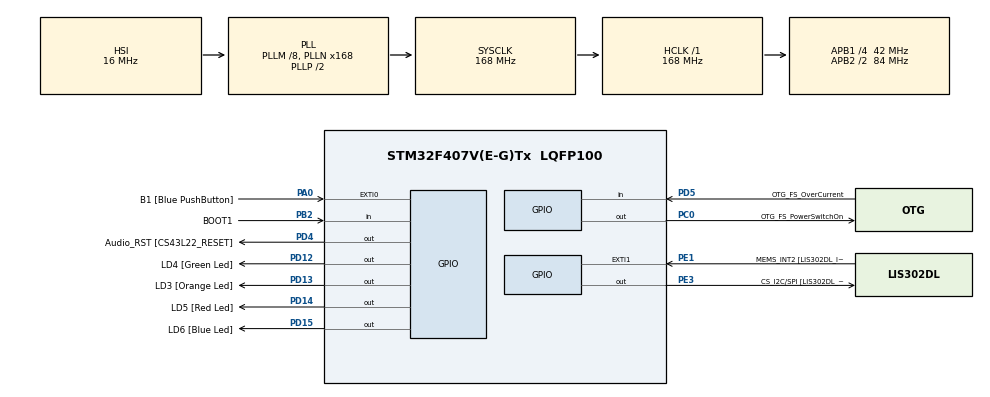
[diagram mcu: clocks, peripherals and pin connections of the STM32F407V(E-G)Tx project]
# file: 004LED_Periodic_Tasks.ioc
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Mcu.Family=STM32F4
PA11.GPIO_Speed=GPIO_SPEED_FREQ_LOW
PC3.GPIO_Mode=GPIO_MODE_AF_PP
PD12.GPIO_Label=LD4 [Green Led]
PH0-OSC_IN.Signal=RCC_OSC_IN
VP_SYS_VS_tim6.Mode=TIM6
RCC.CortexFreq_Value=168000000
PC10.GPIO_PuPd=GPIO_NOPULL
PB10.GPIO_Speed=GPIO_SPEED_FREQ_LOW
PB6.GPIO_Mode=GPIO_MODE_AF_OD
PB10.GPIO_PuPd=GPIO_NOPULL
NVIC.TIM6_DAC_IRQn=true\:0\:0\:false\:false\:true\:false\:true
PA10.GPIO_PuPd=GPIO_NOPULL
PD15.GPIO_Speed=GPIO_SPEED_FREQ_LOW
PC10.Signal=I2S3_CK
PC12.Signal=I2S3_SD
PA14.GPIO_Label=SWCLK
PA7.GPIO_Mode=GPIO_MODE_AF_PP
PC0.GPIO_Label=OTG_FS_PowerSwitchOn
PA6.GPIO_Label=SPI1_MISO [LIS302DL_SDO]
PB6.GPIO_Label=Audio_SCL [CS43L22_SCL]
PC10.GPIO_Speed=GPIO_SPEED_FREQ_LOW
PA11.GPIO_PuPd=GPIO_NOPULL
PC15-OSC32_OUT.GPIO_Label=PC15-OSC32_OUT
PC3.GPIO_Speed=GPIO_SPEED_FREQ_LOW
RCC.SYSCLKSource=RCC_SYSCLKSOURCE_PLLCLK
ProjectManager.StackSize=0x400
PA6.GPIO_Mode=GPIO_MODE_AF_PP
PD13.Signal=GPIO_Output
PD14.GPIO_Speed=GPIO_SPEED_FREQ_LOW
PA12.Signal=USB_OTG_FS_DP
RCC.HCLKFreq_Value=168000000
PD4.Signal=GPIO_Output
RCC.APB2TimFreq_Value=168000000
PB6.Signal=I2C1_SCL
PC7.Signal=I2S3_MCK
PC3.Signal=I2S2_SD
PE1.Signal=GPXTI1
RCC.AHBFreq_Value=168000000
PH0-OSC_IN.GPIO_Label=PH0-OSC_IN
PA9.GPIO_Mode=GPIO_MODE_INPUT
RCC.HSE_VALUE=8000000
PA4.GPIO_PuPd=GPIO_NOPULL
PB2.Signal=GPIO_Input
PA4.GPIO_Speed=GPIO_SPEED_FREQ_LOW
PA6.GPIO_PuPd=GPIO_NOPULL
PA5.GPIO_PuPd=GPIO_NOPULL
PA10.GPIO_Label=OTG_FS_ID
PC7.GPIO_Mode=GPIO_MODE_AF_PP
PD5.GPIO_Mode=GPIO_MODE_INPUT
PD14.GPIO_PuPd=GPIO_NOPULL
PB2.GPIO_PuPd=GPIO_NOPULL
PD13.GPIO_Label=LD3 [Orange Led]
Mcu.Package=LQFP100
PB9.Signal=I2C1_SDA
PA6.Signal=SPI1_MISO
NVIC.TimeBase=TIM6_DAC_IRQn
PD12.Signal=GPIO_Output
PD5.GPIO_Label=OTG_FS_OverCurrent
PD15.GPIO_PuPd=GPIO_NOPULL
NVIC.TimeBaseIP=TIM6
PA10.Signal=USB_OTG_FS_ID
PB9.GPIO_PuPd=GPIO_NOPULL
PA10.GPIO_Speed=GPIO_SPEED_FREQ_LOW
RCC.APB2CLKDivider=RCC_HCLK_DIV2
PB9.GPIO_Speed=GPIO_SPEED_FREQ_LOW
RCC.APB1TimFreq_Value=84000000
PC14-OSC32_IN.GPIO_Label=PC14-OSC32_IN
PC12.GPIO_PuPd=GPIO_NOPULL
PA6.GPIO_Speed=GPIO_SPEED_FREQ_LOW
PC0.GPIO_PuPd=GPIO_NOPULL
PA12.GPIO_PuPd=GPIO_NOPULL
PA4.GPIO_Label=I2S3_WS [CS43L22_LRCK]
PD15.Signal=GPIO_Output
PC0.PinState=GPIO_PIN_SET
PA12.GPIO_Speed=GPIO_SPEED_FREQ_LOW
PB3.GPIO_Label=SWO
PD12.GPIO_Speed=GPIO_SPEED_FREQ_LOW
PD15.GPIO_Label=LD6 [Blue Led]
PB9.GPIO_Label=Audio_SDA [CS43L22_SDA]
PC10.GPIO_Label=I2S3_SCK [CS43L22_SCLK]
PA9.GPIO_Label=VBUS_FS
PB6.GPIO_PuPd=GPIO_NOPULL
PA11.GPIO_Label=OTG_FS_DM
PE1.GPIO_PuPd=GPIO_NOPULL
PD5.Signal=GPIO_Input
PC0.Signal=GPIO_Output
PE1.GPIO_ModeDefaultEXTI=GPIO_MODE_EVT_RISING
RCC.APB1CLKDivider=RCC_HCLK_DIV4
PC14-OSC32_IN.Signal=RCC_OSC32_IN
PA9.GPIO_PuPd=GPIO_NOPULL
PA12.GPIO_Label=OTG_FS_DP
PA0-WKUP.GPIO_Label=B1 [Blue PushButton]
PA0-WKUP.Signal=GPXTI0
PA10.GPIO_Mode=GPIO_MODE_AF_PP
PA13.Signal=SYS_JTMS-SWDIO
PC10.GPIO_Mode=GPIO_MODE_AF_PP
PD4.GPIO_PuPd=GPIO_NOPULL
PC0.GPIO_Speed=GPIO_SPEED_FREQ_LOW
PB10.GPIO_Mode=GPIO_MODE_AF_PP
ProjectManager.TargetToolchain=STM32CubeIDE
PB10.GPIO_Label=CLK_IN [MP45DT02_CLK]
PA9.Signal=USB_OTG_FS_VBUS
PC7.GPIO_PuPd=GPIO_NOPULL
RCC.LSE_VALUE=32768
PC15-OSC32_OUT.Signal=RCC_OSC32_OUT
PA7.GPIO_PuPd=GPIO_NOPULL
PB10.Signal=I2S2_CK
PA5.Signal=SPI1_SCK
board=STM32F407G-DISC1
PD13.GPIO_Speed=GPIO_SPEED_FREQ_LOW
PC7.GPIO_Speed=GPIO_SPEED_FREQ_LOW
RCC.VCOOutputFreq_Value=336000000
PE1.GPIO_Label=MEMS_INT2 [LIS302DL_INT2]
PA7.GPIO_Speed=GPIO_SPEED_FREQ_LOW
PB9.GPIO_Mode=GPIO_MODE_AF_OD
PA12.GPIO_Mode=GPIO_MODE_AF_PP
PA4.GPIO_Mode=GPIO_MODE_AF_PP
RCC.APB2Freq_Value=84000000
PB2.GPIO_Mode=GPIO_MODE_INPUT
PD4.GPIO_Label=Audio_RST [CS43L22_RESET]
PD4.GPIO_Speed=GPIO_SPEED_FREQ_LOW
PE3.GPIO_PuPd=GPIO_NOPULL
PH1-OSC_OUT.Signal=RCC_OSC_OUT
PD13.GPIO_PuPd=GPIO_NOPULL
PD5.GPIO_PuPd=GPIO_NOPULL
PD14.GPIO_Label=LD5 [Red Led]
PH1-OSC_OUT.GPIO_Label=PH1-OSC_OUT
Mcu.Name=STM32F407V(E-G)Tx
PA13.GPIO_Label=SWDIO
PC7.GPIO_Label=I2S3_MCK [CS43L22_MCLK]
PD14.Signal=GPIO_Output
RCC.48MHZClocksFreq_Value=48000000
PB3.Signal=SYS_JTDO-SWO
PA4.Signal=I2S3_WS
RCC.SYSCLKFreq_VALUE=168000000
PC12.GPIO_Mode=GPIO_MODE_AF_PP
PA7.GPIO_Label=SPI1_MOSI [LIS302DL_SDA/SDI/SDO]
PA5.GPIO_Label=SPI1_SCK [LIS302DL_SCL/SPC]
PE3.GPIO_Speed=GPIO_SPEED_FREQ_LOW
PC12.GPIO_Label=I2S3_SD [CS43L22_SDIN]
PA11.Signal=USB_OTG_FS_DM
PA14.Signal=SYS_JTCK-SWCLK
PB2.GPIO_Label=BOOT1
ProjectManager.HeapSize=0x200
RCC.HSI_VALUE=16000000
PA5.GPIO_Speed=GPIO_SPEED_FREQ_LOW
RCC.PLLQ=7
NVIC.PriorityGroup=NVIC_PRIORITYGROUP_4
RCC.PLLM=8
RCC.PLLN=168
PE3.Signal=GPIO_Output
PE3.GPIO_Label=CS_I2C/SPI [LIS302DL_CS_I2C/SPI]
PC3.GPIO_Label=PDM_OUT [MP45DT02_DOUT]
PA11.GPIO_Mode=GPIO_MODE_AF_PP
PB6.GPIO_Speed=GPIO_SPEED_FREQ_LOW
RCC.APB1Freq_Value=42000000
PA5.GPIO_Mode=GPIO_MODE_AF_PP
PC12.GPIO_Speed=GPIO_SPEED_FREQ_LOW
PC3.GPIO_PuPd=GPIO_NOPULL
PD12.GPIO_PuPd=GPIO_NOPULL
PA7.Signal=SPI1_MOSI

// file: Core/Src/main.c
/* USER CODE BEGIN Header */
/**
  ******************************************************************************
  * @file           : main.c
  * @brief          : Main program body
  ******************************************************************************
  * @attention
  *
  * <h2><center>&copy; Copyright (c) 2021 STMicroelectronics.
  * All rights reserved.</center></h2>
  *
  * This software component is licensed by ST under BSD 3-Clause license,
  * the "License"; You may not use this file except in compliance with the
  * License. You may obtain a copy of the License at:
  *                        opensource.org/licenses/BSD-3-Clause
  *
  ******************************************************************************
  */
/* USER CODE END Header */
#include "main.h"

/* USER CODE BEGIN Includes */
#include "FreeRTOS.h"
#include "task.h"
#include <stdio.h>
/* USER CODE END Includes */

/* USER CODE BEGIN PM */

#define DWT_CTRL  (*(volatile uint32_t *)0xE0001000)

/* USER CODE END PM */

void SystemClock_Config(void);
static void MX_GPIO_Init(void);
/* USER CODE BEGIN PFP */
extern void SEGGER_UART_init(U32 baud);
// tasks
static void led_green_handler(void* parameters);
static void led_red_handler(void* parameters);
static void led_orange_handler(void* parameters);
/* USER CODE END PFP */

int main(void)
{
  /* USER CODE BEGIN 1 */

  TaskHandle_t task1_handle, task2_handle, task3_handle;
  BaseType_t status;   // To store the status return from the xTaskCreate

  /* USER CODE END 1 */

  /* MCU Configuration--------------------------------------------------------*/

  /* Reset of all peripherals, Initializes the Flash interface and the Systick. */
  HAL_Init();

  /* Configure the system clock */
  SystemClock_Config();

  /* Initialize all configured peripherals */
  MX_GPIO_Init();
  /* USER CODE BEGIN 2 */

  // Enable the CYCCNT counter (for SEGGER)
  DWT_CTRL |= (1 << 0);

  // Config. uart based SEGGER communication
  SEGGER_UART_init(250000);

  // Starting the recording (for SEGGER)
  SEGGER_SYSVIEW_Conf();

  // Config. Task 1
  status = xTaskCreate(&led_green_handler, "LED_green_task", 200, NULL, 2, &task1_handle);
  configASSERT(status == pdPASS);  // Traps the code if the above function returns an unexpected status

  // Config. Task 2
  status = xTaskCreate(&led_red_handler, "LED_red_task", 200, NULL, 2, &task2_handle);
  configASSERT(status == pdPASS);  // Traps the code if the above function returns an unexpected status

  // Config. Task 3
  status = xTaskCreate(&led_orange_handler, "LED_orange_task", 200, NULL, 2, &task3_handle);
  configASSERT(status == pdPASS);  // Traps the code if the above function returns an unexpected status

  // Start the freeRTOS scheduler
  vTaskStartScheduler();

  // If the control comes here, then the launch of the scheduler has failed due to insufficient
  // memory in the heap

  /* USER CODE END 2 */

  /* Infinite loop */
  while (1)
  {

  }
}

void SystemClock_Config(void)
{
  RCC_OscInitTypeDef RCC_OscInitStruct = {0};
  RCC_ClkInitTypeDef RCC_ClkInitStruct = {0};

  /** Configure the main internal regulator output voltage
  */
  __HAL_RCC_PWR_CLK_ENABLE();
  __HAL_PWR_VOLTAGESCALING_CONFIG(PWR_REGULATOR_VOLTAGE_SCALE1);
  /** Initializes the RCC Oscillators according to the specified parameters
  * in the RCC_OscInitTypeDef structure.
  */
  RCC_OscInitStruct.OscillatorType = RCC_OSCILLATORTYPE_HSI;
  RCC_OscInitStruct.HSIState = RCC_HSI_ON;
  RCC_OscInitStruct.HSICalibrationValue = RCC_HSICALIBRATION_DEFAULT;
  RCC_OscInitStruct.PLL.PLLState = RCC_PLL_ON;
  RCC_OscInitStruct.PLL.PLLSource = RCC_PLLSOURCE_HSI;
  RCC_OscInitStruct.PLL.PLLM = 8;
  RCC_OscInitStruct.PLL.PLLN = 168;
  RCC_OscInitStruct.PLL.PLLP = RCC_PLLP_DIV2;
  RCC_OscInitStruct.PLL.PLLQ = 7;
  if (HAL_RCC_OscConfig(&RCC_OscInitStruct) != HAL_OK)
  {
    Error_Handler();
  }
  /** Initializes the CPU, AHB and APB buses clocks
  */
  RCC_ClkInitStruct.ClockType = RCC_CLOCKTYPE_HCLK|RCC_CLOCKTYPE_SYSCLK
                              |RCC_CLOCKTYPE_PCLK1|RCC_CLOCKTYPE_PCLK2;
  RCC_ClkInitStruct.SYSCLKSource = RCC_SYSCLKSOURCE_PLLCLK;
  RCC_ClkInitStruct.AHBCLKDivider = RCC_SYSCLK_DIV1;
  RCC_ClkInitStruct.APB1CLKDivider = RCC_HCLK_DIV4;
  RCC_ClkInitStruct.APB2CLKDivider = RCC_HCLK_DIV2;

  if (HAL_RCC_ClockConfig(&RCC_ClkInitStruct, FLASH_LATENCY_5) != HAL_OK)
  {
    Error_Handler();
  }
}

static void MX_GPIO_Init(void)
{
  GPIO_InitTypeDef GPIO_InitStruct = {0};

  /* GPIO Ports Clock Enable */
  __HAL_RCC_GPIOE_CLK_ENABLE();
  __HAL_RCC_GPIOC_CLK_ENABLE();
  __HAL_RCC_GPIOH_CLK_ENABLE();
  __HAL_RCC_GPIOA_CLK_ENABLE();
  __HAL_RCC_GPIOB_CLK_ENABLE();
  __HAL_RCC_GPIOD_CLK_ENABLE();

  /*Configure GPIO pin Output Level */
  HAL_GPIO_WritePin(CS_I2C_SPI_GPIO_Port, CS_I2C_SPI_Pin, GPIO_PIN_RESET);

  /*Configure GPIO pin Output Level */
  HAL_GPIO_WritePin(OTG_FS_PowerSwitchOn_GPIO_Port, OTG_FS_PowerSwitchOn_Pin, GPIO_PIN_SET);

  /*Configure GPIO pin Output Level */
  HAL_GPIO_WritePin(GPIOD, LD4_Pin|LD3_Pin|LD5_Pin|LD6_Pin
                          |Audio_RST_Pin, GPIO_PIN_RESET);

  /*Configure GPIO pin : CS_I2C_SPI_Pin */
  GPIO_InitStruct.Pin = CS_I2C_SPI_Pin;
  GPIO_InitStruct.Mode = GPIO_MODE_OUTPUT_PP;
  GPIO_InitStruct.Pull = GPIO_NOPULL;
  GPIO_InitStruct.Speed = GPIO_SPEED_FREQ_LOW;
  HAL_GPIO_Init(CS_I2C_SPI_GPIO_Port, &GPIO_InitStruct);

  /*Configure GPIO pin : OTG_FS_PowerSwitchOn_Pin */
  GPIO_InitStruct.Pin = OTG_FS_PowerSwitchOn_Pin;
  GPIO_InitStruct.Mode = GPIO_MODE_OUTPUT_PP;
  GPIO_InitStruct.Pull = GPIO_NOPULL;
  GPIO_InitStruct.Speed = GPIO_SPEED_FREQ_LOW;
  HAL_GPIO_Init(OTG_FS_PowerSwitchOn_GPIO_Port, &GPIO_InitStruct);

  /*Configure GPIO pin : PDM_OUT_Pin */
  GPIO_InitStruct.Pin = PDM_OUT_Pin;
  GPIO_InitStruct.Mode = GPIO_MODE_AF_PP;
  GPIO_InitStruct.Pull = GPIO_NOPULL;
  GPIO_InitStruct.Speed = GPIO_SPEED_FREQ_LOW;
  GPIO_InitStruct.Alternate = GPIO_AF5_SPI2;
  HAL_GPIO_Init(PDM_OUT_GPIO_Port, &GPIO_InitStruct);

  /*Configure GPIO pin : B1_Pin */
  GPIO_InitStruct.Pin = B1_Pin;
  GPIO_InitStruct.Mode = GPIO_MODE_IT_RISING;
  GPIO_InitStruct.Pull = GPIO_NOPULL;
  HAL_GPIO_Init(B1_GPIO_Port, &GPIO_InitStruct);

  /*Configure GPIO pin : I2S3_WS_Pin */
  GPIO_InitStruct.Pin = I2S3_WS_Pin;
  GPIO_InitStruct.Mode = GPIO_MODE_AF_PP;
  GPIO_InitStruct.Pull = GPIO_NOPULL;
  GPIO_InitStruct.Speed = GPIO_SPEED_FREQ_LOW;
  GPIO_InitStruct.Alternate = GPIO_AF6_SPI3;
  HAL_GPIO_Init(I2S3_WS_GPIO_Port, &GPIO_InitStruct);

  /*Configure GPIO pins : SPI1_SCK_Pin SPI1_MISO_Pin SPI1_MOSI_Pin */
  GPIO_InitStruct.Pin = SPI1_SCK_Pin|SPI1_MISO_Pin|SPI1_MOSI_Pin;
  GPIO_InitStruct.Mode = GPIO_MODE_AF_PP;
  GPIO_InitStruct.Pull = GPIO_NOPULL;
  GPIO_InitStruct.Speed = GPIO_SPEED_FREQ_LOW;
  GPIO_InitStruct.Alternate = GPIO_AF5_SPI1;
  HAL_GPIO_Init(GPIOA, &GPIO_InitStruct);

  /*Configure GPIO pin : BOOT1_Pin */
  GPIO_InitStruct.Pin = BOOT1_Pin;
  GPIO_InitStruct.Mode = GPIO_MODE_INPUT;
  GPIO_InitStruct.Pull = GPIO_NOPULL;
  HAL_GPIO_Init(BOOT1_GPIO_Port, &GPIO_InitStruct);

  /*Configure GPIO pin : CLK_IN_Pin */
  GPIO_InitStruct.Pin = CLK_IN_Pin;
  GPIO_InitStruct.Mode = GPIO_MODE_AF_PP;
  GPIO_InitStruct.Pull = GPIO_NOPULL;
  GPIO_InitStruct.Speed = GPIO_SPEED_FREQ_LOW;
  GPIO_InitStruct.Alternate = GPIO_AF5_SPI2;
  HAL_GPIO_Init(CLK_IN_GPIO_Port, &GPIO_InitStruct);

  /*Configure GPIO pins : LD4_Pin LD3_Pin LD5_Pin LD6_Pin
                           Audio_RST_Pin */
  GPIO_InitStruct.Pin = LD4_Pin|LD3_Pin|LD5_Pin|LD6_Pin
                          |Audio_RST_Pin;
  GPIO_InitStruct.Mode = GPIO_MODE_OUTPUT_PP;
  GPIO_InitStruct.Pull = GPIO_NOPULL;
  GPIO_InitStruct.Speed = GPIO_SPEED_FREQ_LOW;
  HAL_GPIO_Init(GPIOD, &GPIO_InitStruct);

  /*Configure GPIO pins : I2S3_MCK_Pin I2S3_SCK_Pin I2S3_SD_Pin */
  GPIO_InitStruct.Pin = I2S3_MCK_Pin|I2S3_SCK_Pin|I2S3_SD_Pin;
  GPIO_InitStruct.Mode = GPIO_MODE_AF_PP;
  GPIO_InitStruct.Pull = GPIO_NOPULL;
  GPIO_InitStruct.Speed = GPIO_SPEED_FREQ_LOW;
  GPIO_InitStruct.Alternate = GPIO_AF6_SPI3;
  HAL_GPIO_Init(GPIOC, &GPIO_InitStruct);

  /*Configure GPIO pin : VBUS_FS_Pin */
  GPIO_InitStruct.Pin = VBUS_FS_Pin;
  GPIO_InitStruct.Mode = GPIO_MODE_INPUT;
  GPIO_InitStruct.Pull = GPIO_NOPULL;
  HAL_GPIO_Init(VBUS_FS_GPIO_Port, &GPIO_InitStruct);

  /*Configure GPIO pins : OTG_FS_ID_Pin OTG_FS_DM_Pin OTG_FS_DP_Pin */
  GPIO_InitStruct.Pin = OTG_FS_ID_Pin|OTG_FS_DM_Pin|OTG_FS_DP_Pin;
  GPIO_InitStruct.Mode = GPIO_MODE_AF_PP;
  GPIO_InitStruct.Pull = GPIO_NOPULL;
  GPIO_InitStruct.Speed = GPIO_SPEED_FREQ_LOW;
  GPIO_InitStruct.Alternate = GPIO_AF10_OTG_FS;
  HAL_GPIO_Init(GPIOA, &GPIO_InitStruct);

  /*Configure GPIO pin : OTG_FS_OverCurrent_Pin */
  GPIO_InitStruct.Pin = OTG_FS_OverCurrent_Pin;
  GPIO_InitStruct.Mode = GPIO_MODE_INPUT;
  GPIO_InitStruct.Pull = GPIO_NOPULL;
  HAL_GPIO_Init(OTG_FS_OverCurrent_GPIO_Port, &GPIO_InitStruct);

  /*Configure GPIO pins : Audio_SCL_Pin Audio_SDA_Pin */
  GPIO_InitStruct.Pin = Audio_SCL_Pin|Audio_SDA_Pin;
  GPIO_InitStruct.Mode = GPIO_MODE_AF_OD;
  GPIO_InitStruct.Pull = GPIO_PULLUP;
  GPIO_InitStruct.Speed = GPIO_SPEED_FREQ_LOW;
  GPIO_InitStruct.Alternate = GPIO_AF4_I2C1;
  HAL_GPIO_Init(GPIOB, &GPIO_InitStruct);

  /*Configure GPIO pin : MEMS_INT2_Pin */
  GPIO_InitStruct.Pin = MEMS_INT2_Pin;
  GPIO_InitStruct.Mode = GPIO_MODE_EVT_RISING;
  GPIO_InitStruct.Pull = GPIO_NOPULL;
  HAL_GPIO_Init(MEMS_INT2_GPIO_Port, &GPIO_InitStruct);

}

/* USER CODE BEGIN 4 */

static void led_green_handler(void* parameters){

	TickType_t last_wakeup_time;
	last_wakeup_time = xTaskGetTickCount();

	while(1){
		SEGGER_SYSVIEW_PrintfTarget("Toggling green LED");
		HAL_GPIO_TogglePin(GPIOD, LED_GREEN_PIN);
		vTaskDelayUntil(&last_wakeup_time, pdMS_TO_TICKS(1000));  // Esse tipo de delay preserva a fase do sinal, mesmo que outras tarefas eventualmente atrasem a execução desta.
	}

}

static void led_orange_handler(void* parameters){

	TickType_t last_wakeup_time;
	last_wakeup_time = xTaskGetTickCount();

	while(1){
		SEGGER_SYSVIEW_PrintfTarget("Toggling orange LED");
		HAL_GPIO_TogglePin(GPIOD, LED_ORANGE_PIN);
		vTaskDelayUntil(&last_wakeup_time, pdMS_TO_TICKS(800));
	}

}

static void led_red_handler(void* parameters){

	TickType_t last_wakeup_time;
	last_wakeup_time = xTaskGetTickCount();

	while(1){
		SEGGER_SYSVIEW_PrintfTarget("Toggling red LED");
		HAL_GPIO_TogglePin(GPIOD, LED_RED_PIN);
		vTaskDelayUntil(&last_wakeup_time, pdMS_TO_TICKS(400));
	}

}

/* USER CODE END 4 */

 /**
  * @brief  Period elapsed callback in non blocking mode
  * @note   This function is called  when TIM6 interrupt took place, inside
  * HAL_TIM_IRQHandler(). It makes a direct call to HAL_IncTick() to increment
  * a global variable "uwTick" used as application time base.
  * @param  htim : TIM handle
  * @retval None
  */
void HAL_TIM_PeriodElapsedCallback(TIM_HandleTypeDef *htim)
{
  if (htim->Instance == TIM6) {
    HAL_IncTick();
  }
}

void Error_Handler(void)
{
  __disable_irq();
  while (1)
  {
  }
}

/************************ (C) COPYRIGHT STMicroelectronics *****END OF FILE****/
